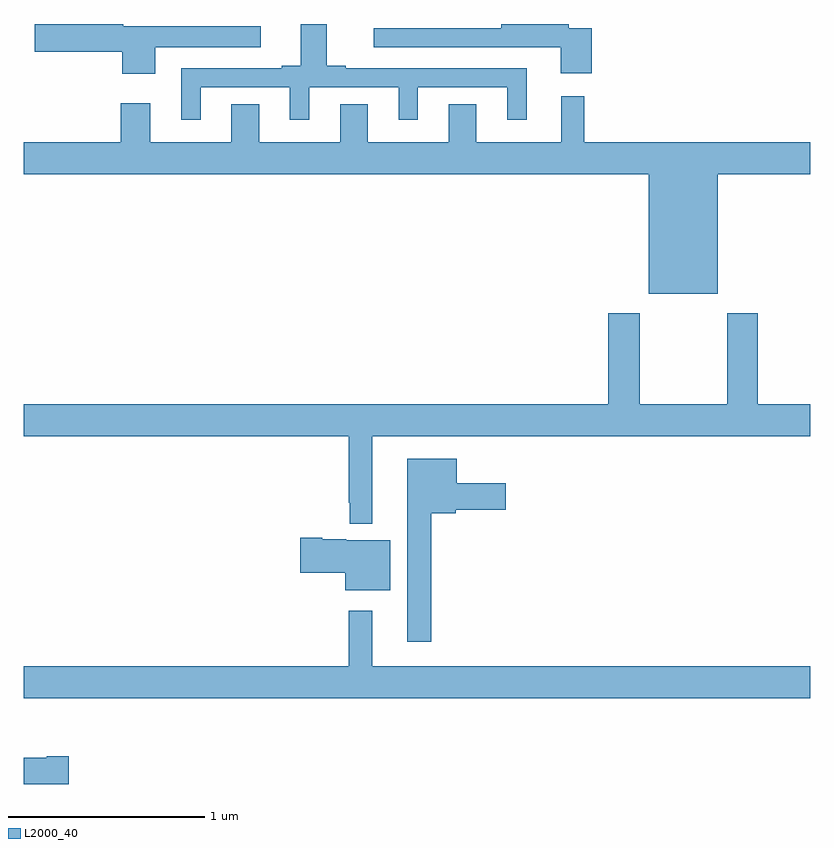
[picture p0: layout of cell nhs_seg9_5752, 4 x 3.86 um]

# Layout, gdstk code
import gdstk
lib = gdstk.Library(unit=1e-6, precision=1e-09)
def P(c, l, *ps):  # polygons
    for p in ps: c.add(gdstk.Polygon(p, *l))
L2000_40 = (2000, 40)

nhs_seg9_5752 = lib.new_cell('nhs_seg9_5752')
P(nhs_seg9_5752, L2000_40, [(447.887,1214.478),(447.772,1214.478),(447.772,1214.5),(447.428,1214.5),(447.428,1214.479),(446.781,1214.479),(446.781,1214.382),(447.532,1214.382),(447.532,1214.381),(447.731,1214.381),(447.731,1214.25),(447.887,1214.25)],
  [(445.669,1214.381),(446.206,1214.381),(446.206,1214.488),(445.506,1214.488),(445.506,1214.5),(445.056,1214.5),(445.056,1214.359),(445.502,1214.359),(445.502,1214.247),(445.669,1214.247)],
  [(445.9,1214.178),(446.354,1214.178),(446.354,1214.013),(446.452,1214.013),(446.452,1214.178),(446.906,1214.178),(446.906,1214.013),(447.004,1214.013),(447.004,1214.178),(447.458,1214.178),(447.458,1214.013),(447.557,1214.013),(447.557,1214.274),(446.638,1214.274),(446.638,1214.287),(446.542,1214.287),(446.542,1214.5),(446.408,1214.5),(446.408,1214.287),(446.312,1214.287),(446.312,1214.274),(445.802,1214.274),(445.802,1214.013),(445.9,1214.013)],
  [(448.528,1213.736),(449,1213.736),(449,1213.9),(447.851,1213.9),(447.851,1214.134),(447.734,1214.134),(447.734,1213.9),(447.301,1213.9),(447.301,1214.093),(447.161,1214.093),(447.161,1213.9),(446.749,1213.9),(446.749,1214.093),(446.609,1214.093),(446.609,1213.9),(446.197,1213.9),(446.197,1214.093),(446.057,1214.093),(446.057,1213.9),(445.645,1213.9),(445.645,1214.098),(445.493,1214.098),(445.493,1213.9),(445,1213.9),(445,1213.736),(448.178,1213.736),(448.178,1213.13),(448.528,1213.13)],
  [(446.773,1212.404),(449,1212.404),(449,1212.568),(448.731,1212.568),(448.731,1213.03),(448.576,1213.03),(448.576,1212.568),(448.131,1212.568),(448.131,1213.03),(447.971,1213.03),(447.971,1212.568),(445,1212.568),(445,1212.404),(446.652,1212.404),(446.652,1212.067),(446.659,1212.067),(446.659,1211.96),(446.773,1211.96)],
  [(447.073,1212.014),(447.198,1212.014),(447.198,1212.032),(447.451,1212.032),(447.451,1212.166),(447.202,1212.166),(447.202,1212.289),(446.951,1212.289),(446.951,1211.361),(447.073,1211.361)],
  [(446.863,1211.875),(446.64,1211.875),(446.64,1211.881),(446.518,1211.881),(446.518,1211.888),(446.406,1211.888),(446.406,1211.71),(446.636,1211.71),(446.636,1211.621),(446.863,1211.621)],
  [(449,1211.236),(446.773,1211.236),(446.773,1211.518),(446.652,1211.518),(446.652,1211.236),(445,1211.236),(445,1211.072),(449,1211.072)],
  [(445.231,1210.779),(445.118,1210.779),(445.118,1210.771),(445,1210.771),(445,1210.637),(445.231,1210.637)])

lib.write_gds('nhs_seg9_5752.gds')
